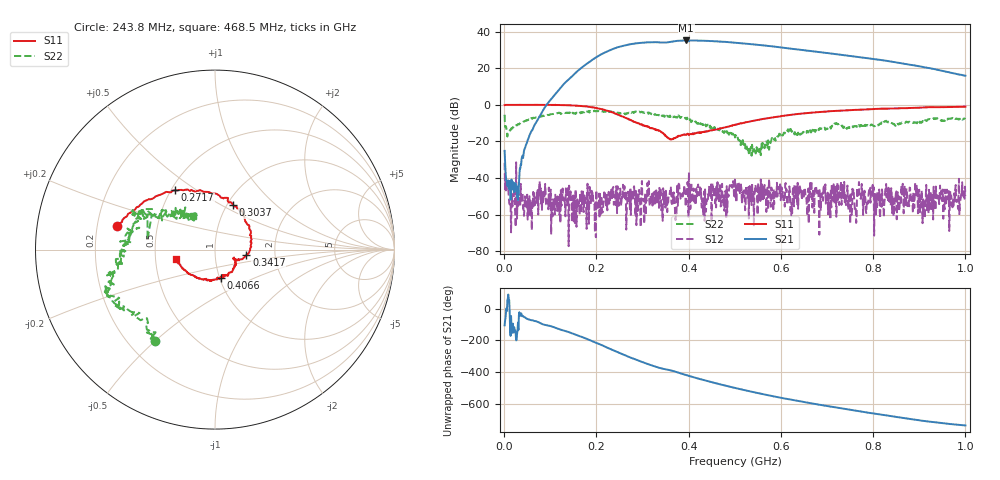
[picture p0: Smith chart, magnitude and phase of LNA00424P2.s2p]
! Created with skrf 1.9.0 (http://scikit-rf.org).
# Hz S RI R 50.0
!freq ReS11 ImS11 ReS21 ImS21 ReS12 ImS12 ReS22 ImS22
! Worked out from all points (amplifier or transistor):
!   1001 points, 1 MHz to 1 GHz, reference 50 ohm
!   highest |S21| = 35.2 dB at 394.6 MHz (marker M1)
!   |S21| within 3 dB of that: 256.7 MHz to 572.1 MHz (315.4 MHz wide, 76.1 % of centre)
!   unconditionally stable (mu >= 1): 245.9 MHz to 281.5 MHz; 313.9 MHz to 400.5 MHz; 400.7 MHz to end of sweep (the widest 3 of 44)
!   at 166.8 MHz: K = 3.72, MAG = 31.1 dB, |S12| = -59.3 dB
!   at 500.5 MHz: K = 1.14, MAG = 34.8 dB, |S12| = -40.1 dB
!   at 1 GHz: K = 3.79, MAG = 24.1 dB, |S12| = -49.6 dB
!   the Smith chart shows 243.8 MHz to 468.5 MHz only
!   S11 on the Smith chart (normalised r, x): 243.8 MHz: 0.28, +0.11; 271.7 MHz: 0.53, +0.41; 303.7 MHz: 1.07, +0.57; 341.7 MHz: 1.42, -0.09; 406.6 MHz: 1.01, -0.32; 468.5 MHz: 0.64, -0.07
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1000000  0.9823 0.00756  -0.0146 -0.0534  -0.0171 0.0196  0.3954 0.362
1.08892e8  0.5196 -0.8494  -0.8652 -1.617  0.00218 -0.000924  0.4251 -0.3751
1.67833e8  -0.226 -0.8978  -10.39 -0.4142  -0.00227 -0.00368  0.0371 -0.6279
2.09791e8  -0.6611 -0.3954  -15.87 17.71  0.000988 0.000318  -0.2035 -0.6386
2.43757e8  -0.5471 0.13  1.22 36.59  -0.00407 -9.38e-05  -0.3328 -0.5079
2.71729e8  -0.2219 0.3306  26.2 36.34  -0.000321 0.0031  -0.4986 -0.3368
3.03697e8  0.1012 0.2484  47.75 15.91  -0.00029 -0.000481  -0.586 -0.1761
3.34666e8  0.202 0.0161  50.22 -10.52  -0.00241 0.00334  -0.5179 -0.00861
3.41659e8  0.1753 -0.0316  48.46 -15.05  -5.99e-06 0.00177  -0.5011 -0.00744
3.7063e8  0.11 -0.0546  44.24 -33.45  -0.000853 2.74e-05  -0.4299 0.1785
3.94606e8  0.0779 -0.1284  29.63 -49.42  -0.00167 -0.00257  -0.3966 0.1706
4.06594e8  0.0319 -0.1559  20.31 -53.8  0.00226 0.00168  -0.3 0.1931
4.36564e8  -0.1016 -0.1542  -3.495 -56.17  0.00238 0.00146  -0.1963 0.214
4.68532e8  -0.22 -0.055  -25.08 -47.55  0.00527 0.00449  -0.1214 0.1886
5.005e8  -0.267 0.1062  -38.87 -32.02  0.00993 0.000276  -0.0796 0.1003
5.4046e8  -0.2132 0.2995  -43.71 -10.3  0.00435 -0.000407  -0.056 0.0195
5.88412e8  -0.0347 0.4646  -37.2 10.72  0.00191 -0.00256  -0.0932 -0.048
6.67333e8  0.3275 0.5161  -15.31 24.8  -0.000239 -0.00237  -0.19 -0.0473
7.53247e8  0.63 0.35  3.591 21.12  -0.000314 -0.000932  -0.2414 -0.00936
8.34166e8  0.7823 0.117  11.21 10.82  -0.00404 -0.00234  -0.3422 -0.0179
9.13087e8  0.8396 -0.1532  10.39 1.849  -0.00198 0.00126  -0.3576 0.1238
1e9  0.7932 -0.4112  5.976 -1.853  -0.00327 0.000458  -0.3262 0.2478
